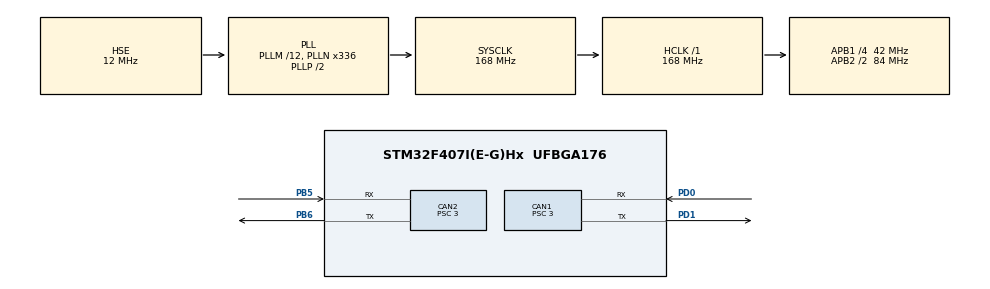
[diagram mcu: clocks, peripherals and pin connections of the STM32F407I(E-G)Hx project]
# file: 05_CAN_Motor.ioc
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CAN1.ABOM=ENABLE
CAN1.BS1=CAN_BS1_10TQ
CAN1.BS2=CAN_BS2_3TQ
CAN1.CalculateBaudRate=1000000
CAN1.CalculateTimeBit=1000
CAN1.CalculateTimeQuantum=71.42857142857143
CAN1.NART=ENABLE
CAN1.Prescaler=3
CAN1.TXFP=ENABLE
CAN2.ABOM=ENABLE
CAN2.BS1=CAN_BS1_10TQ
CAN2.BS2=CAN_BS2_3TQ
CAN2.CalculateBaudRate=1000000
CAN2.CalculateTimeBit=1000
CAN2.CalculateTimeQuantum=71.42857142857143
CAN2.NART=ENABLE
CAN2.Prescaler=3
CAN2.TXFP=ENABLE
Mcu.Family=STM32F4
Mcu.Name=STM32F407I(E-G)Hx
Mcu.Package=UFBGA176
NVIC.CAN1_RX0_IRQn=true\:0\:0\:false\:false\:true\:true\:true\:true
NVIC.CAN1_RX1_IRQn=true\:0\:0\:false\:false\:true\:true\:true\:true
NVIC.CAN2_RX0_IRQn=true\:0\:0\:false\:false\:true\:true\:true\:true
NVIC.CAN2_RX1_IRQn=true\:0\:0\:false\:false\:true\:true\:true\:true
NVIC.PriorityGroup=NVIC_PRIORITYGROUP_4
PA13.Mode=Serial_Wire
PA13.Signal=SYS_JTMS-SWDIO
PA14.Mode=Serial_Wire
PA14.Signal=SYS_JTCK-SWCLK
PB5.Mode=CAN_Activate
PB5.Signal=CAN2_RX
PB6.Mode=CAN_Activate
PB6.Signal=CAN2_TX
PD0.Mode=CAN_Activate
PD0.Signal=CAN1_RX
PD1.Mode=CAN_Activate
PD1.Signal=CAN1_TX
PH0-OSC_IN.Mode=HSE-External-Oscillator
PH0-OSC_IN.Signal=RCC_OSC_IN
PH1-OSC_OUT.Mode=HSE-External-Oscillator
PH1-OSC_OUT.Signal=RCC_OSC_OUT
ProjectManager.HeapSize=0x200
ProjectManager.StackSize=0x400
ProjectManager.TargetToolchain=Makefile
RCC.48MHZClocksFreq_Value=84000000
RCC.AHBFreq_Value=168000000
RCC.APB1CLKDivider=RCC_HCLK_DIV4
RCC.APB1Freq_Value=42000000
RCC.APB1TimFreq_Value=84000000
RCC.APB2CLKDivider=RCC_HCLK_DIV2
RCC.APB2Freq_Value=84000000
RCC.APB2TimFreq_Value=168000000
RCC.CortexFreq_Value=168000000
RCC.HCLKFreq_Value=168000000
RCC.HSE_VALUE=12000000
RCC.HSI_VALUE=16000000
RCC.LSE_VALUE=32768
RCC.PLLM=12
RCC.PLLN=336
RCC.PLLSourceVirtual=RCC_PLLSOURCE_HSE
RCC.SYSCLKFreq_VALUE=168000000
RCC.SYSCLKSource=RCC_SYSCLKSOURCE_PLLCLK
RCC.VCOOutputFreq_Value=336000000
board=custom

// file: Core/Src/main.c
/* USER CODE BEGIN Header */
/**
  ******************************************************************************
  * @file           : main.c
  * @brief          : Main program body
  ******************************************************************************
  * @attention
  *
  * Copyright (c) 2026 STMicroelectronics.
  * All rights reserved.
  *
  * This software is licensed under terms that can be found in the LICENSE file
  * in the root directory of this software component.
  * If no LICENSE file comes with this software, it is provided AS-IS.
  *
  ******************************************************************************
  */
/* USER CODE END Header */
#include "main.h"
#include "can.h"
#include "gpio.h"

/* USER CODE BEGIN Includes */
#include <math.h>
/* USER CODE END Includes */

/* USER CODE BEGIN PTD */
typedef struct
{
  uint16_t angle;                //编码器值，0~8191
  int16_t  speed;                //转速 rpm，正转正值、反转负值
  int16_t  real_current;         //电流的原始报文值，-16384~16384 对应 -20~20A
  float    real_current_handle;  //一阶低通滤波
  uint8_t  temp;                 //温度，单位 ℃
} Motor_Measure_t;

// 一个电调的收发信息
typedef struct
{
  CAN_TxHeaderTypeDef txconf;
  uint8_t  tx_buff[8];
  uint32_t tx_mailbox;
  uint32_t rx_id;
  uint8_t  rx_buff[8];
  CAN_RxHeaderTypeDef rx_header;
} Motor_t;
/* USER CODE END PTD */

/* USER CODE BEGIN PD */
/* ---- CAN 报文相关 ---- */
#define MOTOR_ID        1U
#define MOTOR_TX_ID     0x200U
#define MOTOR_RX_ID     0x201U
#define MOTOR_DATA_LEN  8U

/* ---- 正弦电流指令相关 ---- */
#define SINE_AMPLITUDE  1000.0f
#define SINE_STEP       0.02f
#define PI_F            3.14159265f

/* ---- 电流滤波相关 ---- */
#define FILTER_ALPHA    0.1f // 一阶低通系数
/* USER CODE END PD */

/* USER CODE BEGIN PV */
//全局变量才能监视
Motor_t         motor1;
Motor_Measure_t motor1_measure;
int16_t         current_cmd;
/* USER CODE END PV */

void SystemClock_Config(void);
/* USER CODE BEGIN PFP */
static void motor_init(void);
static void motor_send(void);
/* USER CODE END PFP */

/* USER CODE BEGIN 0 */
// 初始化：配过滤器 -> 启动 CAN1 -> 打开 FIFO1 接收通知 -> 填好发送报文头
static void motor_init(void)
{
  CAN_FilterTypeDef filter = {0};

  filter.FilterBank           = 0;
  filter.SlaveStartFilterBank = 14;
  filter.FilterMode           = CAN_FILTERMODE_IDLIST;
  filter.FilterScale          = CAN_FILTERSCALE_16BIT;
  filter.FilterFIFOAssignment = CAN_FILTER_FIFO1;
  filter.FilterActivation     = CAN_FILTER_ENABLE;//激活过滤器

  filter.FilterIdHigh         = (uint16_t)(MOTOR_RX_ID << 5);
  filter.FilterIdLow          = (uint16_t)(MOTOR_RX_ID << 5);
  filter.FilterMaskIdHigh     = (uint16_t)(MOTOR_RX_ID << 5);
  filter.FilterMaskIdLow      = (uint16_t)(MOTOR_RX_ID << 5);

  if (HAL_CAN_ConfigFilter(&hcan1, &filter) != HAL_OK)
  {
    Error_Handler();
  }

  if (HAL_CAN_Start(&hcan1) != HAL_OK)
  {
    Error_Handler();
  }

  if (HAL_CAN_ActivateNotification(&hcan1, CAN_IT_RX_FIFO1_MSG_PENDING) != HAL_OK)//FIFO1新报文回调
  {
    Error_Handler();
  }

  motor1.rx_id = MOTOR_RX_ID;

  motor1.txconf.StdId = MOTOR_TX_ID;
  motor1.txconf.IDE   = CAN_ID_STD;
  motor1.txconf.RTR   = CAN_RTR_DATA;
  motor1.txconf.DLC   = MOTOR_DATA_LEN;
}

/* 发送一帧控制报文：current_cmd 拆成高低字节放进前两字节，其余填 0 */
static void motor_send(void)
{
  uint16_t raw = (uint16_t)current_cmd;
  uint8_t  i;

  motor1.tx_buff[0] = (uint8_t)(raw >> 8);
  motor1.tx_buff[1] = (uint8_t)(raw & 0xFFU);

  for (i = 2; i < MOTOR_DATA_LEN; i++)
  {
    motor1.tx_buff[i] = 0; //只发1、2字节
  }

  if (HAL_CAN_GetTxMailboxesFreeLevel(&hcan1) > 0)//空闲邮箱检测
  {
    HAL_CAN_AddTxMessage(&hcan1, &motor1.txconf,
                         motor1.tx_buff,
                         &motor1.tx_mailbox);
  }
}

//FIFO1报文回调
void HAL_CAN_RxFifo1MsgPendingCallback(CAN_HandleTypeDef *hcan)
{
  uint8_t *p;

  if (hcan->Instance != CAN1)
  {
    return;
  }

  while (HAL_CAN_GetRxFifoFillLevel(hcan, CAN_RX_FIFO1) > 0)
  {
    if (HAL_CAN_GetRxMessage(hcan, CAN_RX_FIFO1,
                             &motor1.rx_header,
                             motor1.rx_buff) != HAL_OK)
    {
      return;
    }

    if (motor1.rx_header.StdId != motor1.rx_id)
    {
      continue;
    }

    if (motor1.rx_header.DLC != MOTOR_DATA_LEN)
    {
      continue;
    }

    p = motor1.rx_buff;

    motor1_measure.angle        = (uint16_t)((p[0] << 8) | p[1]);
    motor1_measure.speed        = (int16_t)((p[2] << 8) | p[3]);
    motor1_measure.real_current = (int16_t)((p[4] << 8) | p[5]);
    motor1_measure.temp         = p[6];

    motor1_measure.real_current_handle =
        (1.0f-FILTER_ALPHA) * motor1_measure.real_current_handle
      + FILTER_ALPHA * (float)motor1_measure.real_current;
  }
}
/* USER CODE END 0 */

int main(void)
{

  /* MCU Configuration--------------------------------------------------------*/

  /* Reset of all peripherals, Initializes the Flash interface and the Systick. */
  HAL_Init();

  /* Configure the system clock */
  SystemClock_Config();

  /* Initialize all configured peripherals */
  MX_GPIO_Init();
  MX_CAN1_Init();
  MX_CAN2_Init();
  /* USER CODE BEGIN 2 */
  motor_init();

  float phase = 0.0f;
  /* USER CODE END 2 */

  /* Infinite loop */
  while (1)
  {

    /* USER CODE BEGIN 3 */
    current_cmd = (int16_t)(SINE_AMPLITUDE * sinf(phase));

    phase += SINE_STEP * PI_F;
    if (phase > 2.0f * PI_F)
    {
      phase -= 2.0f * PI_F;
    }

    motor_send();

    HAL_Delay(10);
  }
  /* USER CODE END 3 */
}

void SystemClock_Config(void)
{
  RCC_OscInitTypeDef RCC_OscInitStruct = {0};
  RCC_ClkInitTypeDef RCC_ClkInitStruct = {0};

  /** Configure the main internal regulator output voltage
  */
  __HAL_RCC_PWR_CLK_ENABLE();
  __HAL_PWR_VOLTAGESCALING_CONFIG(PWR_REGULATOR_VOLTAGE_SCALE1);

  /** Initializes the RCC Oscillators according to the specified parameters
  * in the RCC_OscInitTypeDef structure.
  */
  RCC_OscInitStruct.OscillatorType = RCC_OSCILLATORTYPE_HSE;
  RCC_OscInitStruct.HSEState = RCC_HSE_ON;
  RCC_OscInitStruct.PLL.PLLState = RCC_PLL_ON;
  RCC_OscInitStruct.PLL.PLLSource = RCC_PLLSOURCE_HSE;
  RCC_OscInitStruct.PLL.PLLM = 12;
  RCC_OscInitStruct.PLL.PLLN = 336;
  RCC_OscInitStruct.PLL.PLLP = RCC_PLLP_DIV2;
  RCC_OscInitStruct.PLL.PLLQ = 4;
  if (HAL_RCC_OscConfig(&RCC_OscInitStruct) != HAL_OK)
  {
    Error_Handler();
  }

  /** Initializes the CPU, AHB and APB buses clocks
  */
  RCC_ClkInitStruct.ClockType = RCC_CLOCKTYPE_HCLK|RCC_CLOCKTYPE_SYSCLK
                              |RCC_CLOCKTYPE_PCLK1|RCC_CLOCKTYPE_PCLK2;
  RCC_ClkInitStruct.SYSCLKSource = RCC_SYSCLKSOURCE_PLLCLK;
  RCC_ClkInitStruct.AHBCLKDivider = RCC_SYSCLK_DIV1;
  RCC_ClkInitStruct.APB1CLKDivider = RCC_HCLK_DIV4;
  RCC_ClkInitStruct.APB2CLKDivider = RCC_HCLK_DIV2;

  if (HAL_RCC_ClockConfig(&RCC_ClkInitStruct, FLASH_LATENCY_5) != HAL_OK)
  {
    Error_Handler();
  }
}

void Error_Handler(void)
{
  __disable_irq();
  while (1)
  {
  }
}
